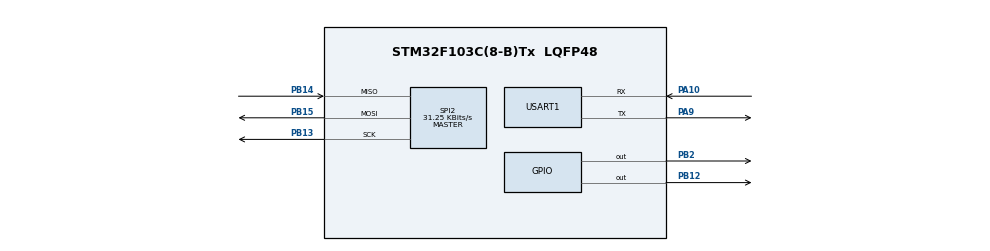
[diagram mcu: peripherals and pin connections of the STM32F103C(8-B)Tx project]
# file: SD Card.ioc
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FATFS._MAX_SS=4096
FATFS._USE_LFN=1
Mcu.Family=STM32F1
Mcu.Name=STM32F103C(8-B)Tx
Mcu.Package=LQFP48
NVIC.PriorityGroup=NVIC_PRIORITYGROUP_4
PA10.Mode=Asynchronous
PA10.Signal=USART1_RX
PA13.Mode=Serial_Wire
PA13.Signal=SYS_JTMS-SWDIO
PA14.Mode=Serial_Wire
PA14.Signal=SYS_JTCK-SWCLK
PA9.Mode=Asynchronous
PA9.Signal=USART1_TX
PB12.GPIO_Speed=GPIO_SPEED_FREQ_LOW
PB12.PinState=GPIO_PIN_RESET
PB12.Signal=GPIO_Output
PB13.Mode=Full_Duplex_Master
PB13.Signal=SPI2_SCK
PB14.Mode=Full_Duplex_Master
PB14.Signal=SPI2_MISO
PB15.Mode=Full_Duplex_Master
PB15.Signal=SPI2_MOSI
PB2.Signal=GPIO_Output
PC14-OSC32_IN.Mode=LSE-External-Oscillator
PC14-OSC32_IN.Signal=RCC_OSC32_IN
PC15-OSC32_OUT.Mode=LSE-External-Oscillator
PC15-OSC32_OUT.Signal=RCC_OSC32_OUT
PD0-OSC_IN.Mode=HSE-External-Oscillator
PD0-OSC_IN.Signal=RCC_OSC_IN
PD1-OSC_OUT.Mode=HSE-External-Oscillator
PD1-OSC_OUT.Signal=RCC_OSC_OUT
ProjectManager.HeapSize=0x200
ProjectManager.StackSize=0x400
ProjectManager.TargetToolchain=STM32CubeIDE
RCC.APB1Freq_Value=8000000
RCC.APB2Freq_Value=8000000
SPI2.BaudRatePrescaler=SPI_BAUDRATEPRESCALER_256
SPI2.CalculateBaudRate=31.25 KBits/s
SPI2.Direction=SPI_DIRECTION_2LINES
SPI2.Mode=SPI_MODE_MASTER
SPI2.VirtualType=VM_MASTER
USART1.VirtualMode=VM_ASYNC
VP_FATFS_VS_Generic.Mode=User_defined
board=custom

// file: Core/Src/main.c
/* USER CODE BEGIN Header */
/**
  ******************************************************************************
  * @file           : main.c
  * @brief          : Main program body
  ******************************************************************************
  * @attention
  *
  * Copyright (c) 2022 STMicroelectronics.
  * All rights reserved.
  *
  * This software is licensed under terms that can be found in the LICENSE file
  * in the root directory of this software component.
  * If no LICENSE file comes with this software, it is provided AS-IS.
  *
  ******************************************************************************
  */
/* USER CODE END Header */
#include "main.h"
#include "fatfs.h"

/* USER CODE BEGIN Includes */
#include <stdbool.h>
#include <stdio.h>
#include <string.h>
#include "fatfs_sd_card.h"
/* USER CODE END Includes */

/* USER CODE BEGIN PTD */
extern uint16_t Timer1, Timer2;
/* USER CODE END PTD */

SPI_HandleTypeDef hspi2;

UART_HandleTypeDef huart1;

void SystemClock_Config(void);
static void MX_GPIO_Init(void);
static void MX_USART1_UART_Init(void);
static void MX_SPI2_Init(void);
/* USER CODE BEGIN PFP */
void process_SD_card( void );
void set_sd_cs_pin(uint16_t pin);
void SD_CS_Select(uint16_t cs_pin);
void SD_CS_Deselect(uint16_t cs_pin);
void write_to_sd_card(const char* filename, const char* data, uint16_t cs_pin);
void read_from_sd_card(const char* filename, char* buffer, int size, uint16_t cs_pin);
void write_to_both_sd_cards(const char* filename, const char* data);
void read_from_both_sd_cards(const char* filename);
void write_to_sd(const char* filename, const char* data);
void read_from_sd(const char* filename, char* buffer, int size);
void test_sd_card_connection(uint16_t cs_pin);

/* USER CODE END PFP */

int main(void)
{

  /* MCU Configuration--------------------------------------------------------*/

  /* Reset of all peripherals, Initializes the Flash interface and the Systick. */
  HAL_Init();

  /* Configure the system clock */
  SystemClock_Config();

  /* Initialize all configured peripherals */
  MX_GPIO_Init();
  MX_FATFS_Init();
  MX_USART1_UART_Init();
  MX_SPI2_Init();
  /* USER CODE BEGIN 2 */
  printf("=== Dual SD Card Utility Functions Test ===\r\n");
  printf("SD Card 1: CS Pin B12\r\n");
  printf("SD Card 2: CS Pin B2\r\n\n");

  // First, test both SD card connections
  printf("=== Initial SD Card Connection Tests ===\r\n");
  test_sd_card_connection(GPIO_PIN_12);  // Test SD Card 1
  test_sd_card_connection(GPIO_PIN_2);   // Test SD Card 2

  // Test 1: Write configuration to both SD cards
  printf("Test 1: Writing configuration files...\r\n");
  write_to_both_sd_cards("config.txt", "wifi_ssid=MyNetwork\nwifi_pass=123456\ndevice_id=STM32_001\n");

  // Test 2: Write sensor data to both SD cards
  printf("Test 2: Writing sensor data...\r\n");
  char sensor_data[100];
  sprintf(sensor_data, "timestamp=%ld,temp=25.6,humidity=60.2\n", HAL_GetTick());
  write_to_both_sd_cards("sensor.log", sensor_data);

  // Test 3: Read back the files from both SD cards
  printf("Test 3: Reading back files...\r\n");
  read_from_both_sd_cards("config.txt");
  read_from_both_sd_cards("sensor.log");

  // Test 4: Multiple writes to both cards (append simulation)
  printf("Test 4: Multiple log entries...\r\n");
  write_to_both_sd_cards("test_log.txt", "Log Entry 1: System Started\n");
  HAL_Delay(1000);
  write_to_both_sd_cards("test_log.txt", "Log Entry 2: All systems operational\n");

  read_from_both_sd_cards("test_log.txt");

  // Test 5: System settings to both cards
  printf("Test 5: Writing system settings...\r\n");
  write_to_both_sd_cards("settings.ini", "baudrate=115200\ntimeout=5000\nversion=1.0\n");

  read_from_both_sd_cards("settings.ini");

  // Test 6: Individual card operations
  printf("Test 6: Individual card operations...\r\n");

  printf("Writing specific data to SD Card 1 only...\r\n");
  write_to_sd_card("card1_specific.txt", "This file is only on SD Card 1 (CS: B12)\n", GPIO_PIN_12);

  printf("Writing specific data to SD Card 2 only...\r\n");
  write_to_sd_card("card2_specific.txt", "This file is only on SD Card 2 (CS: B2)\n", GPIO_PIN_2);

  printf("Reading specific files...\r\n");
  char buffer[200];
  read_from_sd_card("card1_specific.txt", buffer, sizeof(buffer), GPIO_PIN_12);
  read_from_sd_card("card2_specific.txt", buffer, sizeof(buffer), GPIO_PIN_2);

  printf("\n=== All Dual SD Card Tests Completed Successfully! ===\r\n");
  /* USER CODE END 2 */

  /* Infinite loop */
  while (1)
  {

  }
}

void SystemClock_Config(void)
{
  RCC_OscInitTypeDef RCC_OscInitStruct = {0};
  RCC_ClkInitTypeDef RCC_ClkInitStruct = {0};

  /** Initializes the RCC Oscillators according to the specified parameters
  * in the RCC_OscInitTypeDef structure.
  */
  RCC_OscInitStruct.OscillatorType = RCC_OSCILLATORTYPE_HSI;
  RCC_OscInitStruct.HSIState = RCC_HSI_ON;
  RCC_OscInitStruct.HSICalibrationValue = RCC_HSICALIBRATION_DEFAULT;
  RCC_OscInitStruct.PLL.PLLState = RCC_PLL_NONE;
  if (HAL_RCC_OscConfig(&RCC_OscInitStruct) != HAL_OK)
  {
    Error_Handler();
  }

  /** Initializes the CPU, AHB and APB buses clocks
  */
  RCC_ClkInitStruct.ClockType = RCC_CLOCKTYPE_HCLK|RCC_CLOCKTYPE_SYSCLK
                              |RCC_CLOCKTYPE_PCLK1|RCC_CLOCKTYPE_PCLK2;
  RCC_ClkInitStruct.SYSCLKSource = RCC_SYSCLKSOURCE_HSI;
  RCC_ClkInitStruct.AHBCLKDivider = RCC_SYSCLK_DIV1;
  RCC_ClkInitStruct.APB1CLKDivider = RCC_HCLK_DIV1;
  RCC_ClkInitStruct.APB2CLKDivider = RCC_HCLK_DIV1;

  if (HAL_RCC_ClockConfig(&RCC_ClkInitStruct, FLASH_LATENCY_0) != HAL_OK)
  {
    Error_Handler();
  }
}

static void MX_SPI2_Init(void)
{

  /* SPI2 parameter configuration*/
  hspi2.Instance = SPI2;
  hspi2.Init.Mode = SPI_MODE_MASTER;
  hspi2.Init.Direction = SPI_DIRECTION_2LINES;
  hspi2.Init.DataSize = SPI_DATASIZE_8BIT;
  hspi2.Init.CLKPolarity = SPI_POLARITY_LOW;
  hspi2.Init.CLKPhase = SPI_PHASE_1EDGE;
  hspi2.Init.NSS = SPI_NSS_SOFT;
  hspi2.Init.BaudRatePrescaler = SPI_BAUDRATEPRESCALER_256;
  hspi2.Init.FirstBit = SPI_FIRSTBIT_MSB;
  hspi2.Init.TIMode = SPI_TIMODE_DISABLE;
  hspi2.Init.CRCCalculation = SPI_CRCCALCULATION_DISABLE;
  hspi2.Init.CRCPolynomial = 10;
  if (HAL_SPI_Init(&hspi2) != HAL_OK)
  {
    Error_Handler();
  }

}

static void MX_USART1_UART_Init(void)
{

  huart1.Instance = USART1;
  huart1.Init.BaudRate = 115200;
  huart1.Init.WordLength = UART_WORDLENGTH_8B;
  huart1.Init.StopBits = UART_STOPBITS_1;
  huart1.Init.Parity = UART_PARITY_NONE;
  huart1.Init.Mode = UART_MODE_TX_RX;
  huart1.Init.HwFlowCtl = UART_HWCONTROL_NONE;
  huart1.Init.OverSampling = UART_OVERSAMPLING_16;
  if (HAL_UART_Init(&huart1) != HAL_OK)
  {
    Error_Handler();
  }

}

static void MX_GPIO_Init(void)
{
  GPIO_InitTypeDef GPIO_InitStruct = {0};

  /* GPIO Ports Clock Enable */
  __HAL_RCC_GPIOC_CLK_ENABLE();
  __HAL_RCC_GPIOD_CLK_ENABLE();
  __HAL_RCC_GPIOB_CLK_ENABLE();
  __HAL_RCC_GPIOA_CLK_ENABLE();

  /*Configure GPIO pin Output Level */
  HAL_GPIO_WritePin(GPIOB, GPIO_PIN_2|GPIO_PIN_12, GPIO_PIN_RESET);

  /*Configure GPIO pins : PB2 PB12 */
  GPIO_InitStruct.Pin = GPIO_PIN_2|GPIO_PIN_12;
  GPIO_InitStruct.Mode = GPIO_MODE_OUTPUT_PP;
  GPIO_InitStruct.Pull = GPIO_NOPULL;
  GPIO_InitStruct.Speed = GPIO_SPEED_FREQ_LOW;
  HAL_GPIO_Init(GPIOB, &GPIO_InitStruct);

  /* USER CODE BEGIN MX_GPIO_Init_2 */
  /* Configure PB14 (MISO) with pull-up for better SD card communication */
  GPIO_InitStruct.Pin = GPIO_PIN_14;
  GPIO_InitStruct.Mode = GPIO_MODE_INPUT;
  GPIO_InitStruct.Pull = GPIO_PULLUP;
  GPIO_InitStruct.Speed = GPIO_SPEED_FREQ_HIGH;
  HAL_GPIO_Init(GPIOB, &GPIO_InitStruct);
  /* USER CODE END MX_GPIO_Init_2 */
}

/* USER CODE BEGIN 4 */

/**
  * @brief  This function is executed to decrement timers
  * @param  None
  * @retval None
  */
void HAL_SYSTICK_Callback(void)
{
  if(Timer1 > 0) Timer1--;
  if(Timer2 > 0) Timer2--;
}

/**
  * @brief  Select CS pin for SD card
  * @param  cs_pin: GPIO pin number (GPIO_PIN_12 or GPIO_PIN_2)
  * @retval None
  */
void SD_CS_Select(uint16_t cs_pin)
{
  HAL_GPIO_WritePin(GPIOB, cs_pin, GPIO_PIN_RESET);
  HAL_Delay(1);
}

/**
  * @brief  Deselect CS pin for SD card
  * @param  cs_pin: GPIO pin number (GPIO_PIN_12 or GPIO_PIN_2)
  * @retval None
  */
void SD_CS_Deselect(uint16_t cs_pin)
{
  HAL_GPIO_WritePin(GPIOB, cs_pin, GPIO_PIN_SET);
  HAL_Delay(1);
}

/**
  * @brief  Write data to specific SD card with full reset
  * @param  filename: Name of the file to write
  * @param  data: Data string to write
  * @param  cs_pin: CS pin for SD card selection (GPIO_PIN_12 or GPIO_PIN_2)
  * @retval None
  */
void write_to_sd_card(const char* filename, const char* data, uint16_t cs_pin)
{
    FIL fil;
    UINT bw;
    FRESULT fres;

    // Ensure both CS pins are high (deselected) first
    HAL_GPIO_WritePin(GPIOB, GPIO_PIN_12, GPIO_PIN_SET);
    HAL_GPIO_WritePin(GPIOB, GPIO_PIN_2, GPIO_PIN_SET);
    HAL_Delay(500);  // Longer delay for complete stabilization

    // Set the CS pin for this operation
    set_sd_cs_pin(cs_pin);

    // Additional delay after CS pin change
    HAL_Delay(300);

    // Force SD disk re-initialization
    SD_disk_initialize(0);
    HAL_Delay(200);

    // Mount SD card
    FATFS FatFs;
    fres = f_mount(&FatFs, "", 1);
    if (fres != FR_OK) {
        printf("SD Card %s Mount Error: %d\r\n", (cs_pin == GPIO_PIN_12) ? "1 (B12)" : "2 (B2)", fres);

        // Try one more time with re-initialization
        HAL_Delay(500);
        SD_disk_initialize(0);
        HAL_Delay(200);
        fres = f_mount(&FatFs, "", 1);
        if (fres != FR_OK) {
            printf("SD Card %s Mount Error (retry): %d\r\n", (cs_pin == GPIO_PIN_12) ? "1 (B12)" : "2 (B2)", fres);
            return;
        }
    }

    // Open/Create file for writing
    fres = f_open(&fil, filename, FA_CREATE_ALWAYS | FA_WRITE);
    if (fres == FR_OK) {
        fres = f_write(&fil, data, strlen(data), &bw);
        if (fres == FR_OK) {
            f_sync(&fil);  // Ensure data is written
            printf("SD Card %s - File written: %s (%u bytes)\r\n",
                   (cs_pin == GPIO_PIN_12) ? "1 (B12)" : "2 (B2)", filename, bw);
        } else {
            printf("SD Card %s - Write error: %d\r\n",
                   (cs_pin == GPIO_PIN_12) ? "1 (B12)" : "2 (B2)", fres);
        }
        f_close(&fil);
    } else {
        printf("SD Card %s - File create error: %d\r\n",
               (cs_pin == GPIO_PIN_12) ? "1 (B12)" : "2 (B2)", fres);
    }

    // Unmount SD card
    f_mount(NULL, "", 0);

    // Final delay before next operation
    HAL_Delay(200);
}

/**
  * @brief  Read data from specific SD card with full reset
  * @param  filename: Name of the file to read
  * @param  buffer: Buffer to store read data
  * @param  size: Buffer size
  * @param  cs_pin: CS pin for SD card selection (GPIO_PIN_12 or GPIO_PIN_2)
  * @retval None
  */
void read_from_sd_card(const char* filename, char* buffer, int size, uint16_t cs_pin)
{
    FIL fil;
    FRESULT fres;

    // Ensure both CS pins are high (deselected) first
    HAL_GPIO_WritePin(GPIOB, GPIO_PIN_12, GPIO_PIN_SET);
    HAL_GPIO_WritePin(GPIOB, GPIO_PIN_2, GPIO_PIN_SET);
    HAL_Delay(500);  // Longer delay for complete stabilization

    // Set the CS pin for this operation
    set_sd_cs_pin(cs_pin);

    // Additional delay after CS pin change
    HAL_Delay(300);

    // Force SD disk re-initialization
    SD_disk_initialize(0);
    HAL_Delay(200);

    // Mount SD card
    FATFS FatFs;
    fres = f_mount(&FatFs, "", 1);
    if (fres != FR_OK) {
        printf("SD Card %s Mount Error: %d\r\n", (cs_pin == GPIO_PIN_12) ? "1 (B12)" : "2 (B2)", fres);

        // Try one more time with re-initialization
        HAL_Delay(500);
        SD_disk_initialize(0);
        HAL_Delay(200);
        fres = f_mount(&FatFs, "", 1);
        if (fres != FR_OK) {
            printf("SD Card %s Mount Error (retry): %d\r\n", (cs_pin == GPIO_PIN_12) ? "1 (B12)" : "2 (B2)", fres);
            buffer[0] = '\0';  // Empty string if error
            return;
        }
    }

    // Small delay for SD card stability
    HAL_Delay(100);

    // Open file for reading
    fres = f_open(&fil, filename, FA_READ);
    if (fres == FR_OK) {
        f_gets(buffer, size, &fil);
        printf("SD Card %s - File read: %s - Content: %s\r\n",
               (cs_pin == GPIO_PIN_12) ? "1 (B12)" : "2 (B2)", filename, buffer);
        f_close(&fil);
    } else {
        printf("SD Card %s - File read error: %d\r\n",
               (cs_pin == GPIO_PIN_12) ? "1 (B12)" : "2 (B2)", fres);
        buffer[0] = '\0';  // Empty string if error
    }

    // Unmount SD card
    f_mount(NULL, "", 0);

    // Final delay before next operation
    HAL_Delay(200);
}

/**
  * @brief  Write data to both SD cards
  * @param  filename: Name of the file to write
  * @param  data: Data string to write
  * @retval None
  */
void write_to_both_sd_cards(const char* filename, const char* data)
{
    printf("\n=== Writing to both SD cards ===\r\n");

    // Write to first SD card (CS pin B12)
    printf("Writing to SD Card 1 (CS: B12)...\r\n");
    write_to_sd_card(filename, data, GPIO_PIN_12);

    // Small delay between operations
    HAL_Delay(500);

    // Write to second SD card (CS pin B2)
    printf("Writing to SD Card 2 (CS: B2)...\r\n");
    write_to_sd_card(filename, data, GPIO_PIN_2);

    printf("=== Both SD cards written ===\r\n\n");
}

/**
  * @brief  Read data from both SD cards
  * @param  filename: Name of the file to read
  * @retval None
  */
void read_from_both_sd_cards(const char* filename)
{
    char buffer1[200], buffer2[200];

    printf("\n=== Reading from both SD cards ===\r\n");

    // Read from first SD card (CS pin B12)
    printf("Reading from SD Card 1 (CS: B12)...\r\n");
    read_from_sd_card(filename, buffer1, sizeof(buffer1), GPIO_PIN_12);

    // Small delay between operations
    HAL_Delay(500);

    // Read from second SD card (CS pin B2)
    printf("Reading from SD Card 2 (CS: B2)...\r\n");
    read_from_sd_card(filename, buffer2, sizeof(buffer2), GPIO_PIN_2);

    printf("=== Both SD cards read ===\r\n\n");
}

/**
  * @brief  Write data to SD card file
  * @param  filename: Name of the file to write
  * @param  data: Data string to write
  * @retval None
  */
void write_to_sd(const char* filename, const char* data)
{
    FIL fil;
    UINT bw;
    FRESULT fres;

    // Mount SD card
    FATFS FatFs;
    fres = f_mount(&FatFs, "", 1);
    if (fres != FR_OK) {
        printf("SD Mount Error: %d\r\n", fres);
        return;
    }

    // Open/Create file for writing
    fres = f_open(&fil, filename, FA_CREATE_ALWAYS | FA_WRITE);
    if (fres == FR_OK) {
        fres = f_write(&fil, data, strlen(data), &bw);
        if (fres == FR_OK) {
            f_sync(&fil);  // Ensure data is written
            printf("File written: %s (%u bytes)\r\n", filename, bw);
        } else {
            printf("Write error: %d\r\n", fres);
        }
        f_close(&fil);
    } else {
        printf("File create error: %d\r\n", fres);
    }

    // Unmount SD card
    f_mount(NULL, "", 0);
}

/**
  * @brief  Read data from SD card file
  * @param  filename: Name of the file to read
  * @param  buffer: Buffer to store read data
  * @param  size: Buffer size
  * @retval None
  */
void read_from_sd(const char* filename, char* buffer, int size)
{
    FIL fil;
    FRESULT fres;

    // Mount SD card
    FATFS FatFs;
    fres = f_mount(&FatFs, "", 1);
    if (fres != FR_OK) {
        printf("SD Mount Error: %d\r\n", fres);
        return;
    }

    // Small delay for SD card stability
    HAL_Delay(100);

    // Open file for reading
    fres = f_open(&fil, filename, FA_READ);
    if (fres == FR_OK) {
        f_gets(buffer, size, &fil);
        printf("File read: %s - Content: %s\r\n", filename, buffer);
        f_close(&fil);
    } else {
        printf("File read error: %d\r\n", fres);
        buffer[0] = '\0';  // Empty string if error
    }

    // Unmount SD card
    f_mount(NULL, "", 0);
}

#ifdef __GNUC__
  /* With GCC, small printf (option LD Linker->Libraries->Small printf
     set to 'Yes') calls __io_putchar() */
int __io_putchar(int ch)
#else
int fputc(int ch, FILE *f)
#endif /* __GNUC__ */
{
  /* Place your implementation of fputc here */
  /* e.g. write a character to the UART3 and Loop until the end of transmission */
  HAL_UART_Transmit(&huart1, (uint8_t *)&ch, 1, HAL_MAX_DELAY);

  return ch;
}

/**
  * @brief SD Card Operation
  * @param none
  * @retval none
  */
void process_SD_card( void )
{
  FATFS       FatFs;                //Fatfs handle
  FIL         fil;                  //File handle
  FRESULT     fres;                 //Result after operations
  char        buf[100];

  do
  {
    //Mount the SD Card
    fres = f_mount(&FatFs, "", 1);    //1=mount now
    if (fres != FR_OK)
    {
      printf("No SD Card found : (%i)\r\n", fres);
      break;
    }
    printf("SD Card Mounted Successfully!!!\r\n");

    //Read the SD Card Total size and Free Size
    FATFS *pfs;
    DWORD fre_clust;
    uint32_t totalSpace, freeSpace;

    f_getfree("", &fre_clust, &pfs);
    totalSpace = (uint32_t)((pfs->n_fatent - 2) * pfs->csize * 0.5);
    freeSpace = (uint32_t)(fre_clust * pfs->csize * 0.5);

    printf("TotalSpace : %lu bytes, FreeSpace = %lu bytes\n", totalSpace, freeSpace);

    //Create and write file
    fres = f_open(&fil, "test.txt", FA_CREATE_ALWAYS | FA_WRITE);
    if(fres != FR_OK)
    {
      printf("File creation Error : (%i)\r\n", fres);
      break;
    }

    printf("Writing data!!!\r\n");

    // Write data using f_write instead of f_puts for better control
    const char* text = "Hello World!\r\n";
    UINT bytes_written;
    fres = f_write(&fil, text, strlen(text), &bytes_written);
    if(fres != FR_OK) {
      printf("f_write Error : (%i)\r\n", fres);
      f_close(&fil);
      break;
    }
    printf("Bytes written: %u\r\n", bytes_written);

    // Sync to ensure data is written to SD card
    fres = f_sync(&fil);
    if(fres != FR_OK) {
      printf("f_sync Error : (%i)\r\n", fres);
      f_close(&fil);
      break;
    }

    // Close file with error checking
    fres = f_close(&fil);
    if(fres != FR_OK) {
      printf("f_close Error : (%i)\r\n", fres);
      break;
    }

    printf("File written and closed successfully!\r\n");

    // Small delay to ensure SD card operations complete
    HAL_Delay(200);

    printf("Skipping f_stat, going directly to file read...\r\n");

    // Try to read the file directly without f_stat
    fres = f_open(&fil, "test.txt", FA_READ);
    printf("f_open for read result: %d\r\n", fres);

    if(fres == FR_OK)
    {
      printf("SUCCESS: File opened for reading!\r\n");
      f_gets(buf, sizeof(buf), &fil);
      printf("Read Data: %s\r\n", buf);
      f_close(&fil);
      printf("File closed after reading!\r\n");
    }
    else
    {
      printf("FAILED: Cannot open file for reading! Error: %d\r\n", fres);
    }

    printf("Test completed!\r\n");

  } while( false );

  //Unmount the drive
  f_mount(NULL, "", 0);
  printf("SD Card Unmounted Successfully!!!\r\n");
}
/* USER CODE END 4 */

void Error_Handler(void)
{
  __disable_irq();
  while (1)
  {
  }
}
